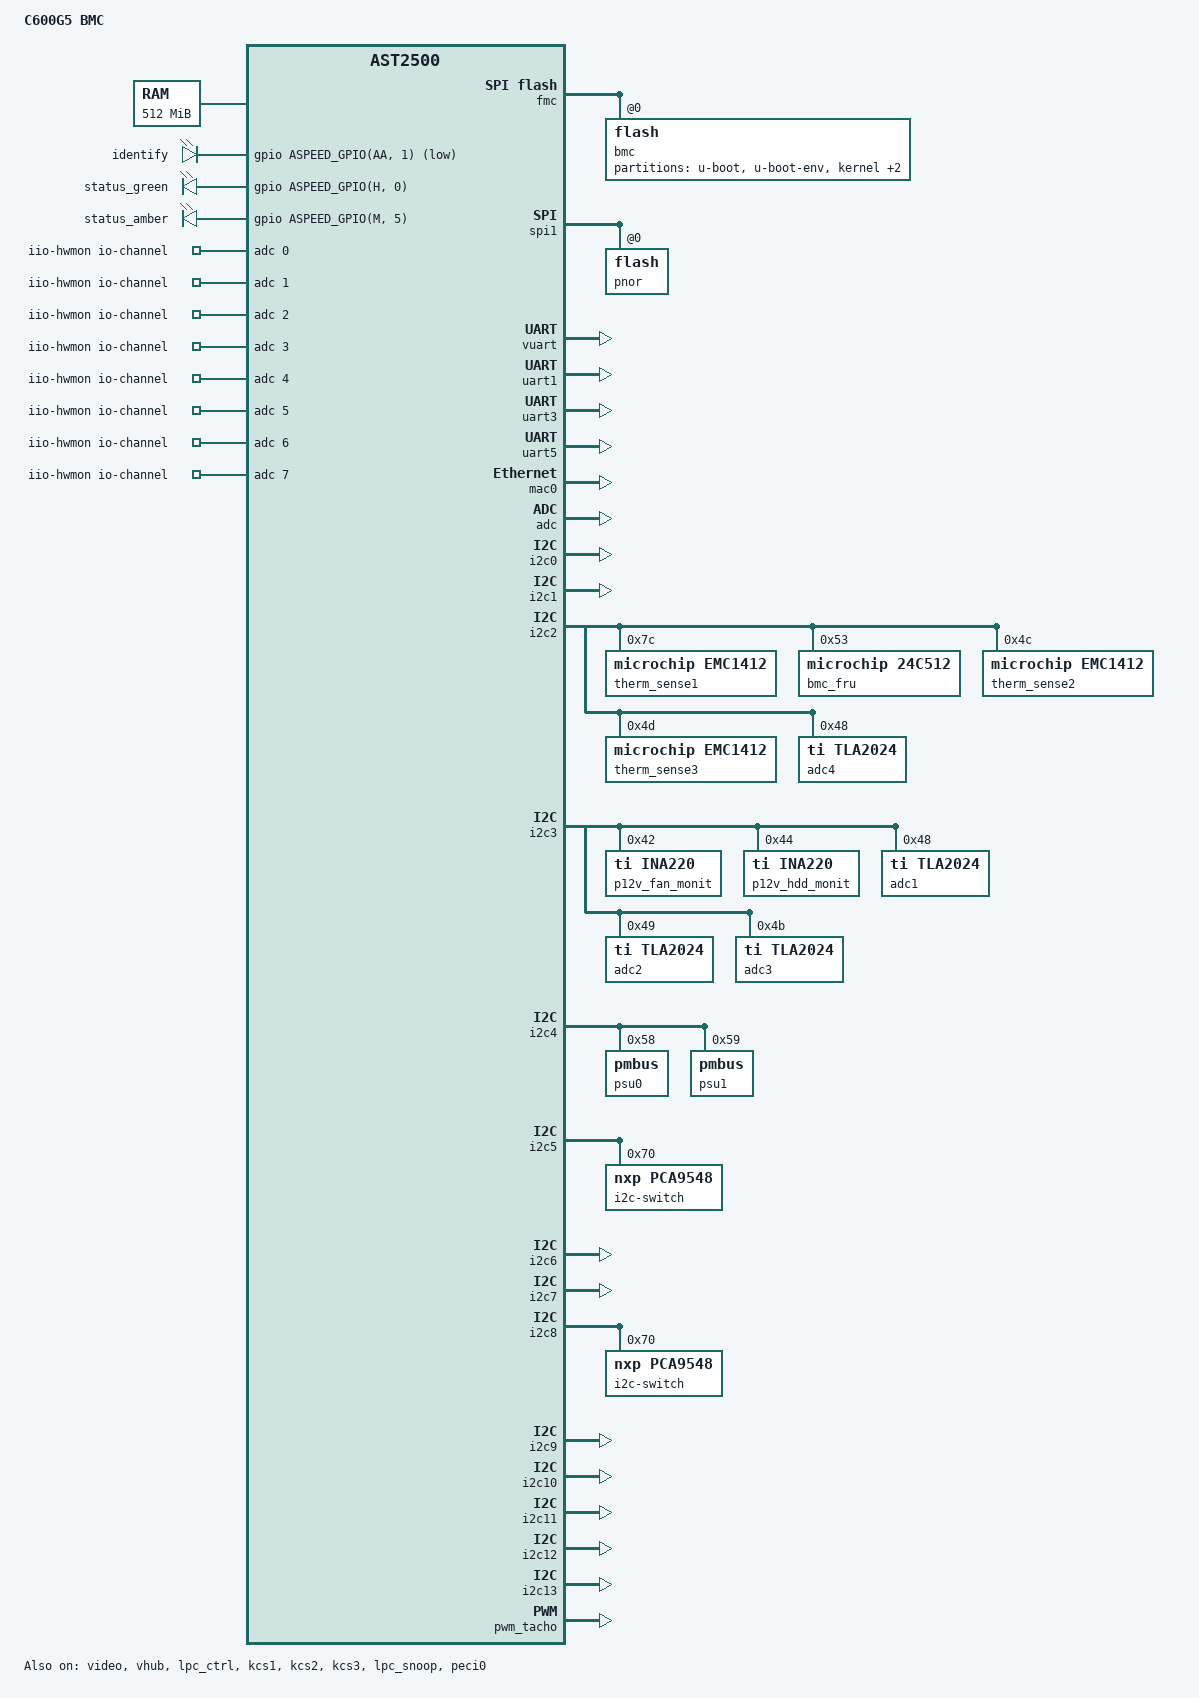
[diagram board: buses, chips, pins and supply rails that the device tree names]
// SPDX-License-Identifier: GPL-2.0+
// Copyright (c) 2017 Intel Corporation
/dts-v1/;

#include "aspeed-g5.dtsi"
#include <dt-bindings/gpio/aspeed-gpio.h>

/ {
	model = "C600G5 BMC";
	compatible = "inventec,c600g5-bmc", "aspeed,ast2500";
	aliases {
		serial0 = &uart1;
		serial4 = &uart5;
	};
	chosen {
		stdout-path = &uart5;
		bootargs = "console=ttyS4,115200 earlyprintk";
	};

	memory@80000000 {
		reg = <0x80000000 0x20000000>;   //DRAM = 512 M 
	};
	
	reserved-memory{ 
		#address-cells = <1>;
		#size-cells = <1>;
		ranges;

		flash_memory: region@98000000 {
            		no-map;
            		reg = <0x98000000 0x04000000>; /* 64M */
        	};
		gfx_memory: framebuffer {
			size = <0x01000000>;   //VGA RAM = 16M 
			alignment = <0x01000000>;
			compatible = "shared-dma-pool";
			reusable;
		};
	};

        leds {
		compatible = "gpio-leds";

		identify {
			gpios = <&gpio ASPEED_GPIO(AA, 1) GPIO_ACTIVE_LOW>;
		};

        status_green {
			gpios = <&gpio ASPEED_GPIO(H, 0) GPIO_ACTIVE_HIGH>;
			default-state = "off";
		};

		status_amber {
			gpios = <&gpio ASPEED_GPIO(M, 5) GPIO_ACTIVE_HIGH>;
			default-state = "on";
		};
	};

	iio-hwmon {
		compatible = "iio-hwmon";
		io-channels = <&adc 0>, <&adc 1>, <&adc 2>, <&adc 3>,
			<&adc 4>, <&adc 5>, <&adc 6>, <&adc 7>,
			<&adc 8>, <&adc 9>, <&adc 10>, <&adc 11>,
			<&adc 12>, <&adc 13>, <&adc 14>, <&adc 15>;
	};
};

&video {
       status = "okay";
       memory-region = <&gfx_memory>;
};

&vhub {
	status = "okay";
};


&fmc {
	status = "okay";
	flash@0 {
		status = "okay";
		m25p,fast-read;
		label = "bmc";

        partitions {
            compatible = "fixed-partitions";
            #address-cells = <1>;
            #size-cells = <1>;

            u-boot@0 {
                    reg = <0x0 0x60000>; // 384KB
                    label = "u-boot";
            };

            u-boot-env@60000 {
                    reg = <0x60000 0x20000>; // 128KB
                    label = "u-boot-env";
            };

            kernel@80000 {
                    reg = <0x80000 0x440000>; // 4.25MB
                    label = "kernel";
            };
            rofs@4c0000 {
                    reg = <0x4c0000 0x2b40000>; // 43.25MB
                    label = "rofs";
            };

            rwfs@3000000 {
                    reg = <0x3000000 0x1000000>; // 16MB
                    label = "rwfs";
            };
        };
	};
};

&spi1 {
	status = "okay";
	flash@0 {
		status = "okay";
		m25p,fast-read;
		label = "pnor";
	};
};

&vuart {
	status = "okay";
};

&uart1 {
	status = "okay";
	pinctrl-names = "default";
	pinctrl-0 = <&pinctrl_txd1_default
		     &pinctrl_rxd1_default>;
};

&uart3 {
	status = "okay";
};

&uart5 {
	// BMC Console
	status = "okay";
};

&mac0 {
	status = "okay";

	pinctrl-names = "default";
	pinctrl-0 = <&pinctrl_rgmii1_default &pinctrl_mdio1_default>;
};

&mac1 {
	status = "disabled";

	pinctrl-names = "default";
	pinctrl-0 = <&pinctrl_rgmii2_default &pinctrl_mdio2_default>;
};

&adc {
	status = "okay";
};

&i2c0 {
	status = "okay";
};

&i2c1 {
	status = "okay";
};

&i2c2 {
	status = "okay";
    
	therm_sense1: emc1412@7c {
		compatible = "microchip,emc1412";
		reg = <0x7c>;
	};

	bmc_fru: 24c512_fru@53 {
		compatible = "microchip,24c512", "atmel,24c512";
		reg = <0x53>;
		pagesize = <128>;
	};

	therm_sense2: emc1412@4c {
		compatible = "microchip,emc1412";
		reg = <0x4c>;
	};

	therm_sense3: emc1412@4d {
		compatible = "microchip,emc1412";
		reg = <0x4d>;
	};

	adc4: tla2024@48 {
		compatible = "ti,tla2024";
		reg = <0x48>;

		v0@0 {
			single-channel = <0>;
		};
		v1@1 {
			single-channel = <1>;
		};
		v23@2 {
			diff-channels = <2 3>;
		};
		v01@3 {
			diff-channels = <0 1>;
		};
	};
};

&i2c3 {
	status = "okay";

	p12v_fan_monit: ina220@42 {
		compatible = "ti,ina220";
		reg = <0x42>;
	};

	p12v_hdd_monit: ina220@44 {
		compatible = "ti,ina220";
		reg = <0x44>;
	};

	adc1: tla2024@48 {
		compatible = "ti,tla2024";
		reg = <0x48>;

		v0@0 {
			single-channel = <0>;
		};
		v1@1 {
			single-channel = <1>;
		};
		v23@2 {
			diff-channels = <2 3>;
		};
		v01@3 {
			diff-channels = <0 1>;
		};
	};

	adc2: tla2024@49 {
		compatible = "ti,tla2024";
		reg = <0x49>;

		v0@0 {
			single-channel = <0>;
		};
		v1@1 {
			single-channel = <1>;
		};
		v23@2 {
			diff-channels = <2 3>;
		};
		v01@3 {
			diff-channels = <0 1>;
		};
	};

	adc3: tla2024@4b {
		compatible = "ti,tla2024";
		reg = <0x4b>;

		v0@0 {
			single-channel = <0>;
		};
		v1@1 {
			single-channel = <1>;
		};
		v23@2 {
			diff-channels = <2 3>;
		};
		v01@3 {
			diff-channels = <0 1>;
		};
	};
};

&i2c4 {
	status = "okay";

	// PSU
	psu0:psu0@58 {
		compatible = "pmbus";
		reg = <0x58>;
	};

	psu1:psu1@59 {
		compatible = "pmbus";
		reg = <0x59>;
	};
};

&i2c5 {
	status = "okay";

	/* 0: PE U2 Slot 1,
	 *    PE U2 Slot 2,
	 *    PE U2 Slot 3,
	 *    PE U2 Slot 4,
	 *    PE E1S Slot 1,
	 *    PE E1S Slot 2,
	 *    PE E1S Slot 3,
	 *    PE E1S Slot 4
	 */
	i2c-switch@70 {
		compatible = "nxp,pca9548";
		#address-cells = <1>;
		#size-cells = <0>;
		reg = <0x70>;
		i2c-mux-idle-disconnect;

		i2c_pe_u2_slot_1: i2c@0 {
			#address-cells = <1>;
			#size-cells = <0>;
			reg = <0>;
		};

		i2c_pe_u2_slot_2: i2c@1 {
			#address-cells = <1>;
			#size-cells = <0>;
			reg = <1>;
		};

		i2c_pe_u2_slot_3: i2c@2 {
			#address-cells = <1>;
			#size-cells = <0>;
			reg = <2>;
		};

		i2c_pe_u2_slot_4: i2c@3 {
			#address-cells = <1>;
			#size-cells = <0>;
			reg = <3>;
		};

		i2c_pe_e1s_slot_1: i2c@4 {
			#address-cells = <1>;
			#size-cells = <0>;
			reg = <4>;
		};

		i2c_pe_e1s_slot_2: i2c@5 {
			#address-cells = <1>;
			#size-cells = <0>;
			reg = <5>;
		};

		i2c_pe_e1s_slot_3: i2c@6 {
			#address-cells = <1>;
			#size-cells = <0>;
			reg = <6>;
		};

		i2c_pe_e1s_slot_4: i2c@7 {
			#address-cells = <1>;
			#size-cells = <0>;
			reg = <7>;
		};
	};
};

&i2c6 {
	status = "okay";
};

&i2c7 {
	status = "okay";
};

&i2c8 {
	status = "okay";

	/* 0: MLB CPLD,
	 * 1: PE CPU 1A 1B,
	 * 2: PE CPU 1C 1D,
	 * 6: M2 0,
	 * 7: M2 1
	 */
	i2c-switch@70 {
		compatible = "nxp,pca9548";
		#address-cells = <1>;
		#size-cells = <0>;
		reg = <0x70>;
		i2c-mux-idle-disconnect;

		i2c_mlb_cpld: i2c@0 {
			#address-cells = <1>;
			#size-cells = <0>;
			reg = <0>;
		};

		i2c_pe_cpu_1a_1b: i2c@1 {
			#address-cells = <1>;
			#size-cells = <0>;
			reg = <1>;
		};

		i2c_pe_cpu_1c_1d: i2c@2 {
			#address-cells = <1>;
			#size-cells = <0>;
			reg = <2>;
		};

		i2c_m2_0: i2c@6 {
			#address-cells = <1>;
			#size-cells = <0>;
			reg = <6>;
		};

		i2c_m2_1: i2c@7 {
			#address-cells = <1>;
			#size-cells = <0>;
			reg = <7>;
		};
	};
};

&i2c9 {
	status = "okay";
};

&i2c10 {
	status = "okay";
};

&i2c11 {
	status = "okay";
};

&i2c12 {
	status = "okay";
};

&i2c13 {
	status = "okay";
};

	
&pwm_tacho {
	status = "okay";
	pinctrl-names = "default";
	pinctrl-0 = <&pinctrl_pwm0_default
	             &pinctrl_pwm1_default
		     &pinctrl_pwm2_default
		     &pinctrl_pwm3_default
		     &pinctrl_pwm4_default
		     &pinctrl_pwm5_default>;
	fan@0 {
		reg = <0x00>;
		aspeed,fan-tach-ch = /bits/ 8 <0x00>;
	};

	fan@1 {
		reg = <0x00>;
		aspeed,fan-tach-ch = /bits/ 8 <0x01>;
	};

	fan@2 {
		reg = <0x01>;
		aspeed,fan-tach-ch = /bits/ 8 <0x02>;
	};

	fan@3 {
		reg = <0x01>;
		aspeed,fan-tach-ch = /bits/ 8 <0x03>;
	};

	fan@4 {
		reg = <0x02>;
		aspeed,fan-tach-ch = /bits/ 8 <0x04>;
	};

	fan@5 {
		reg = <0x02>;
		aspeed,fan-tach-ch = /bits/ 8 <0x05>;
	};

	fan@6 {
		reg = <0x03>;
		aspeed,fan-tach-ch = /bits/ 8 <0x06>;
	};

	fan@7 {
		reg = <0x03>;
		aspeed,fan-tach-ch = /bits/ 8 <0x07>;
	};

	fan@8 {
		reg = <0x04>;
		aspeed,fan-tach-ch = /bits/ 8 <0x08>;
	};

	fan@9 {
		reg = <0x04>;
		aspeed,fan-tach-ch = /bits/ 8 <0x09>;
	};

	fan@10 {
		reg = <0x05>;
		aspeed,fan-tach-ch = /bits/ 8 <0x0a>;
	};

	fan@11 {
		reg = <0x05>;
		aspeed,fan-tach-ch = /bits/ 8 <0x0b>;
	};
};

&lpc_ctrl {
    status = "okay";
    memory-region = <&flash_memory>;
    flash = <&spi1>;
};

&kcs1 {
	// BMC KCS channel 1
	status = "okay";
	aspeed,lpc-io-reg = <0xca0>;
};

&kcs2 {
	// BMC KCS channel 2
	status = "okay";
	aspeed,lpc-io-reg = <0xca8>;
};

&kcs3 {
	// BMC KCS channel 3
	status = "okay";
	aspeed,lpc-io-reg = <0xca2>;
};

&lpc_snoop {
    status = "okay";
    snoop-ports = <0x80>;
};

&peci0 {
       status = "okay";
};

&gpio {
   status = "okay";
   gpio-line-names =
   /*A0-A7*/   "","","","","","","","",
   /*B0-B7*/   "","","","","","","","",
   /*C0-C7*/   "","","","","","","","",
   /*D0-D7*/   "","","","","","","","",
   /*E0-E7*/   "","","","","","","","",
   /*F0-F7*/   "","","","","","","","",
   /*G0-G7*/   "","","","","","","","",
   /*H0-H7*/   "","","","","","","","",
   /*I0-I7*/   "","","","","","","","",
   /*J0-J7*/   "","","","","","","","",
   /*K0-K7*/   "","","","","","","","",
   /*L0-L7*/   "","","","","","","","",
   /*M0-M7*/   "","","","","","","","",
   /*N0-N7*/   "","","","","","","","",
   /*O0-O7*/   "","","","","","","","",
   /*P0-P7*/   "","","","","","","","",
   /*Q0-Q7*/   "","","","","","","","",
   /*R0-R7*/   "","","","","","","","",
   /*S0-S7*/   "","PS_PWROK","","","","","","",
   /*T0-T7*/   "","","","","","","","",
   /*U0-U7*/   "","","","","","","","",
   /*V0-V7*/   "","","","","","","","",
   /*W0-W7*/   "","","","","","","","",
   /*X0-X7*/   "","","","","","","","",
   /*Y0-Y7*/   "","","","","","","","",
   /*Z0-Z7*/   "","","","","","","","",
   /*AA0-AA7*/ "","","","","","","","",
   /*AB0-AB7*/ "","","","","","","","",
   /*AC0-AC7*/ "","","","","","","","";
};
